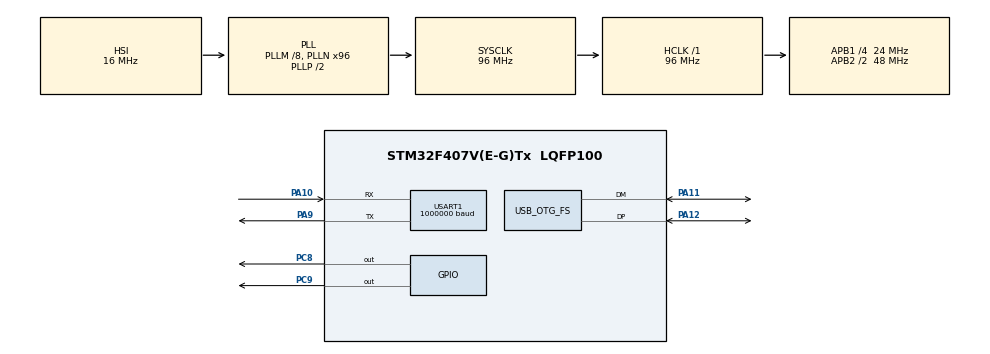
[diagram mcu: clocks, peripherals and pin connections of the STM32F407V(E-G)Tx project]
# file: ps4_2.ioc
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Mcu.Family=STM32F4
Mcu.Name=STM32F407V(E-G)Tx
Mcu.Package=LQFP100
NVIC.OTG_FS_IRQn=true\:0\:0\:false\:false\:true\:false\:true\:true
NVIC.PriorityGroup=NVIC_PRIORITYGROUP_4
PA10.Mode=Asynchronous
PA10.Signal=USART1_RX
PA11.Mode=Device_Only
PA11.Signal=USB_OTG_FS_DM
PA12.Mode=Device_Only
PA12.Signal=USB_OTG_FS_DP
PA13.Mode=Serial_Wire
PA13.Signal=SYS_JTMS-SWDIO
PA14.Mode=Serial_Wire
PA14.Signal=SYS_JTCK-SWCLK
PA9.Mode=Asynchronous
PA9.Signal=USART1_TX
PC14-OSC32_IN.Mode=LSE-External-Oscillator
PC14-OSC32_IN.Signal=RCC_OSC32_IN
PC15-OSC32_OUT.Mode=LSE-External-Oscillator
PC15-OSC32_OUT.Signal=RCC_OSC32_OUT
PC8.Signal=GPIO_Output
PC9.Signal=GPIO_Output
PH0-OSC_IN.Mode=HSE-External-Oscillator
PH0-OSC_IN.Signal=RCC_OSC_IN
PH1-OSC_OUT.Mode=HSE-External-Oscillator
PH1-OSC_OUT.Signal=RCC_OSC_OUT
ProjectManager.HeapSize=0x200
ProjectManager.StackSize=0x400
ProjectManager.TargetToolchain=STM32CubeIDE
RCC.48MHZClocksFreq_Value=48000000
RCC.AHBFreq_Value=96000000
RCC.APB1CLKDivider=RCC_HCLK_DIV4
RCC.APB1Freq_Value=24000000
RCC.APB1TimFreq_Value=48000000
RCC.APB2CLKDivider=RCC_HCLK_DIV2
RCC.APB2Freq_Value=48000000
RCC.APB2TimFreq_Value=96000000
RCC.CortexFreq_Value=96000000
RCC.HCLKFreq_Value=96000000
RCC.HSE_VALUE=25000000
RCC.HSI_VALUE=16000000
RCC.PLLM=8
RCC.PLLN=96
RCC.PLLSourceVirtualString=RCC_PLLSOURCE_HSI
RCC.SYSCLKFreq_VALUE=96000000
RCC.SYSCLKSource=RCC_SYSCLKSOURCE_PLLCLK
RCC.VCOOutputFreq_Value=192000000
TIM1.Prescaler=95
USART1.BaudRate=1000000
USART1.VirtualMode=VM_ASYNC
USB_DEVICE.CLASS_NAME_FS=CDC
USB_DEVICE.VirtualMode-CDC_FS=Cdc
USB_DEVICE.VirtualModeFS=Cdc_FS
USB_OTG_FS.VirtualMode=Device_Only
VP_TIM1_VS_ClockSourceINT.Mode=Internal
VP_USB_DEVICE_VS_USB_DEVICE_CDC_FS.Mode=CDC_FS
board=custom

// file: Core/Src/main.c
/* USER CODE BEGIN Header */
/**
  ******************************************************************************
  * @file           : main.c
  * @brief          : Main program body
  ******************************************************************************
  * @attention
  *
  * Copyright (c) 2026 STMicroelectronics.
  * All rights reserved.
  *
  * This software is licensed under terms that can be found in the LICENSE file
  * in the root directory of this software component.
  * If no LICENSE file comes with this software, it is provided AS-IS.
  *
  ******************************************************************************
  */
/* USER CODE END Header */
#include "main.h"
#include "usb_device.h"
#include <stdio.h>
#include "STS_SERVO.h"
#include "stepper.h"
#include "usbd_cdc_if.h"

TIM_HandleTypeDef htim1;

UART_HandleTypeDef huart1;

/* USER CODE BEGIN PV */
uint16_t servo_pos = 0;
uint8_t  servo_id_1 = 1;   // YOUR SERVO ID
uint8_t  servo_id_2 = 6;
uint8_t  servo_id_3 = 7;
uint8_t  servo_id_4 = 5;
uint8_t  servo_id_5 = 4;
/* USER CODE END PV */

void SystemClock_Config(void);
static void MX_GPIO_Init(void);
static void MX_TIM1_Init(void);
static void MX_USART1_UART_Init(void);
/* USER CODE BEGIN PFP */
/* USER CODE BEGIN PFP */

/* USER CODE END PFP */

int main(void)
{

  /* MCU Configuration--------------------------------------------------------*/

  /* Reset of all peripherals, Initializes the Flash interface and the Systick. */
  HAL_Init();

  /* Configure the system clock */
  SystemClock_Config();

  /* Initialize all configured peripherals */

  /* USER CODE BEGIN 2 */
  MX_GPIO_Init();
    MX_TIM1_Init();
    MX_USART1_UART_Init();

    /* USER CODE BEGIN 2 */
    // Initialize USB CDC (if required by your specific board setup, though CubeMX usually does this in main.h/usb_device.c)
    MX_USB_DEVICE_Init();
    /* USER CODE BEGIN 2 */
    //FOR SERVO INITIALIZATION
    // Enable torque both servos
      STS_EnableTorque(&huart1, servo_id_1);
      STS_EnableTorque(&huart1, servo_id_2);
      HAL_Delay(300);

      // Base acceleration
      STS_SetAccel(&huart1, servo_id_1, 20);
      STS_SetAccel(&huart1, servo_id_2, 20);
      HAL_Delay(200);

    //FOR STEPPER
    Stepper_Init(&htim1);
    printf("System Initialized! \r\n");

  /* USER CODE END 2 */

  /* Infinite loop */
  while (1)
  {
	  HAL_Delay(5000);
	 	          printf("System Initialized! MOVING BOTH SERVOS.\r\n");
	 	          moveSmooth(&huart1, servo_id_1, 0, 1500, 100);
	 	          moveSmooth(&huart1, servo_id_2, 0, 1500, 100);
	 	          moveSmooth(&huart1, servo_id_3, 0, 1500, 100);
	 	          moveSmooth(&huart1, servo_id_4, 0, 1500, 100);
	 	          moveSmooth(&huart1, servo_id_5, 0, 1500, 100);
	 	          HAL_Delay(3000);

	 	          moveSmooth(&huart1, servo_id_1, 4095, 50, 100);
	 	          moveSmooth(&huart1, servo_id_2, 4095, 50, 100);
	 	          moveSmooth(&huart1, servo_id_3, 4095, 50, 100);
	 	          moveSmooth(&huart1, servo_id_4, 4095, 50, 100);
	 	          moveSmooth(&huart1, servo_id_5, 4095, 50, 100);
	 	          HAL_Delay(3000);

	 	          printf("System Initialized! MOVING STEPPER.\r\n");
	 	          Stepper_RotateAngle(90.0, 100, 1);
	 	          HAL_Delay(3000); // Note: HAL_Delay in interrupts is generally bad practice, but will work here if EXTI priority is lower than SysTick
	 	          Stepper_RotateAngle(180.0, 500, 0);
  }
}

void SystemClock_Config(void)
{
  RCC_OscInitTypeDef RCC_OscInitStruct = {0};
  RCC_ClkInitTypeDef RCC_ClkInitStruct = {0};

  /** Configure the main internal regulator output voltage
  */
  __HAL_RCC_PWR_CLK_ENABLE();
  __HAL_PWR_VOLTAGESCALING_CONFIG(PWR_REGULATOR_VOLTAGE_SCALE1);

  /** Initializes the RCC Oscillators according to the specified parameters
  * in the RCC_OscInitTypeDef structure.
  */
  RCC_OscInitStruct.OscillatorType = RCC_OSCILLATORTYPE_HSI;
  RCC_OscInitStruct.HSIState = RCC_HSI_ON;
  RCC_OscInitStruct.HSICalibrationValue = RCC_HSICALIBRATION_DEFAULT;
  RCC_OscInitStruct.PLL.PLLState = RCC_PLL_ON;
  RCC_OscInitStruct.PLL.PLLSource = RCC_PLLSOURCE_HSI;
  RCC_OscInitStruct.PLL.PLLM = 8;
  RCC_OscInitStruct.PLL.PLLN = 96;
  RCC_OscInitStruct.PLL.PLLP = RCC_PLLP_DIV2;
  RCC_OscInitStruct.PLL.PLLQ = 4;
  if (HAL_RCC_OscConfig(&RCC_OscInitStruct) != HAL_OK)
  {
    Error_Handler();
  }

  /** Initializes the CPU, AHB and APB buses clocks
  */
  RCC_ClkInitStruct.ClockType = RCC_CLOCKTYPE_HCLK|RCC_CLOCKTYPE_SYSCLK
                              |RCC_CLOCKTYPE_PCLK1|RCC_CLOCKTYPE_PCLK2;
  RCC_ClkInitStruct.SYSCLKSource = RCC_SYSCLKSOURCE_PLLCLK;
  RCC_ClkInitStruct.AHBCLKDivider = RCC_SYSCLK_DIV1;
  RCC_ClkInitStruct.APB1CLKDivider = RCC_HCLK_DIV4;
  RCC_ClkInitStruct.APB2CLKDivider = RCC_HCLK_DIV2;

  if (HAL_RCC_ClockConfig(&RCC_ClkInitStruct, FLASH_LATENCY_3) != HAL_OK)
  {
    Error_Handler();
  }
}

static void MX_TIM1_Init(void)
{

  TIM_ClockConfigTypeDef sClockSourceConfig = {0};
  TIM_MasterConfigTypeDef sMasterConfig = {0};

  htim1.Instance = TIM1;
  htim1.Init.Prescaler = 95;
  htim1.Init.CounterMode = TIM_COUNTERMODE_UP;
  htim1.Init.Period = 65535;
  htim1.Init.ClockDivision = TIM_CLOCKDIVISION_DIV1;
  htim1.Init.RepetitionCounter = 0;
  htim1.Init.AutoReloadPreload = TIM_AUTORELOAD_PRELOAD_DISABLE;
  if (HAL_TIM_Base_Init(&htim1) != HAL_OK)
  {
    Error_Handler();
  }
  sClockSourceConfig.ClockSource = TIM_CLOCKSOURCE_INTERNAL;
  if (HAL_TIM_ConfigClockSource(&htim1, &sClockSourceConfig) != HAL_OK)
  {
    Error_Handler();
  }
  sMasterConfig.MasterOutputTrigger = TIM_TRGO_RESET;
  sMasterConfig.MasterSlaveMode = TIM_MASTERSLAVEMODE_DISABLE;
  if (HAL_TIMEx_MasterConfigSynchronization(&htim1, &sMasterConfig) != HAL_OK)
  {
    Error_Handler();
  }

}

static void MX_USART1_UART_Init(void)
{

  huart1.Instance = USART1;
  huart1.Init.BaudRate = 1000000;
  huart1.Init.WordLength = UART_WORDLENGTH_8B;
  huart1.Init.StopBits = UART_STOPBITS_1;
  huart1.Init.Parity = UART_PARITY_NONE;
  huart1.Init.Mode = UART_MODE_TX_RX;
  huart1.Init.HwFlowCtl = UART_HWCONTROL_NONE;
  huart1.Init.OverSampling = UART_OVERSAMPLING_16;
  if (HAL_UART_Init(&huart1) != HAL_OK)
  {
    Error_Handler();
  }

}

static void MX_GPIO_Init(void)
{
  GPIO_InitTypeDef GPIO_InitStruct = {0};

  /* GPIO Ports Clock Enable */
  __HAL_RCC_GPIOC_CLK_ENABLE();
  __HAL_RCC_GPIOH_CLK_ENABLE();
  __HAL_RCC_GPIOA_CLK_ENABLE();

  /*Configure GPIO pin Output Level */
  HAL_GPIO_WritePin(GPIOC, GPIO_PIN_8|GPIO_PIN_9, GPIO_PIN_RESET);

  /*Configure GPIO pins : PC8 PC9 */
  GPIO_InitStruct.Pin = GPIO_PIN_8|GPIO_PIN_9;
  GPIO_InitStruct.Mode = GPIO_MODE_OUTPUT_PP;
  GPIO_InitStruct.Pull = GPIO_NOPULL;
  GPIO_InitStruct.Speed = GPIO_SPEED_FREQ_LOW;
  HAL_GPIO_Init(GPIOC, &GPIO_InitStruct);

}

/* USER CODE BEGIN 4 */
int _write(int file, char *ptr, int len) {
    uint8_t result = CDC_Transmit_FS((uint8_t*)ptr, len);

    // Wait for the transmission to complete to avoid overlapping buffers
    // Use a small delay or check the busy status of the CDC interface
    HAL_Delay(1);

    return (result == USBD_OK) ? len : 0;
}
/* USER CODE END 4 */

void Error_Handler(void)
{
  __disable_irq();
  while (1)
  {
  }
}
